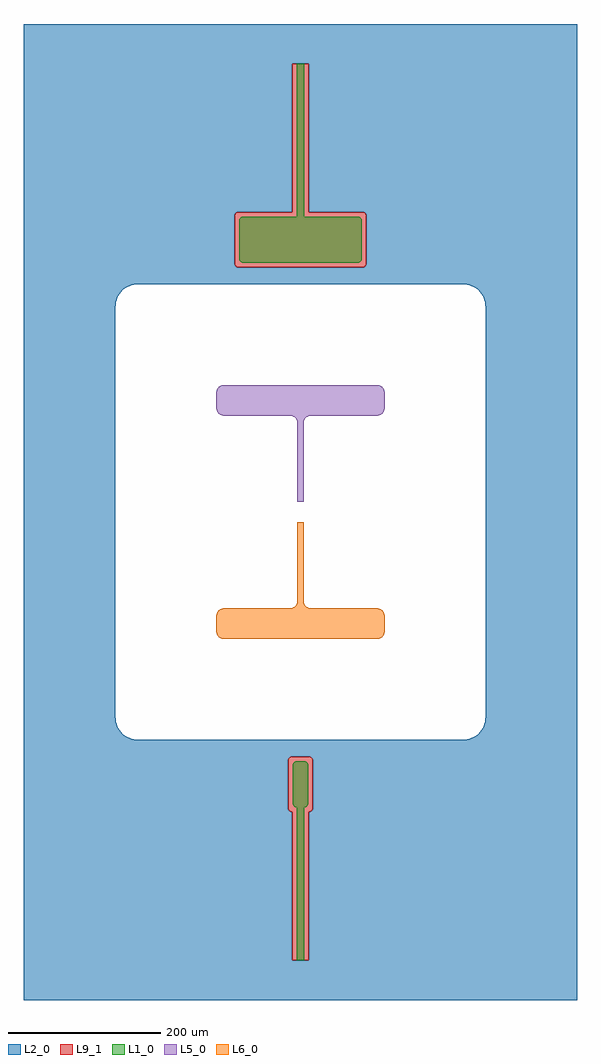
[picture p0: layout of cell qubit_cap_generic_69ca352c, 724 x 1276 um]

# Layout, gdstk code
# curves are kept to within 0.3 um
from math import pi, radians
import gdstk
lib = gdstk.Library(unit=1e-6, precision=1e-09)
def R(c, l, rs):  # rectangles x0, y0, x1, y1
    for r in rs: c.add(gdstk.rectangle(r[:2], r[2:], *l))
def P(c, l, *ps):  # polygons
    for p in ps: c.add(gdstk.Polygon(p, *l))
L1_0 = (1, 0)
L2_0 = (2, 0)
L5_0 = (5, 0)
L6_0 = (6, 0)
L9_1 = (9, 1)

round_rectangle_61e0a399 = lib.new_cell('round_rectangle_61e0a399')
P(round_rectangle_61e0a399, L5_0, [(-100,126),(101.045,126.055),(103.09,126.489),(105.878,127.91),(108.09,130.122),(109.511,132.91),(110,136),(109.945,157.045),(108.66,161),(106.691,163.431),(103.09,165.511),(100,166),(-101.045,165.945),(-103.09,165.511),(-105.878,164.09),(-108.09,161.878),(-109.511,159.09),(-110,156),(-110,136),(-109.511,132.91),(-107.431,129.309),(-104.067,126.865)])

round_rectangle_39f1ce38 = lib.new_cell('round_rectangle_39f1ce38')
R(round_rectangle_39f1ce38, L5_0, [(-4,-56.25,4,56.25)])

fillet_cutout_90deg_1908 = lib.new_cell('fillet_cutout_90deg_19087955')
P(fillet_cutout_90deg_1908, L5_0, [(0,0),(7.071,7.071),(5.556,5.827),(3.827,4.903),(1.951,4.334),(0,4.142),(-1.951,4.334),(-3.827,4.903),(-5.556,5.827),(-7.071,7.071)])

fillet_cutout_90deg_7294 = lib.new_cell('fillet_cutout_90deg_72947cdf')
P(fillet_cutout_90deg_7294, L5_0, [(0,0),(-7.071,-7.071),(-5.556,-5.827),(-3.827,-4.903),(-1.951,-4.334),(0,-4.142),(1.951,-4.334),(3.827,-4.903),(5.556,-5.827),(7.071,-7.071)])

round_rectangle_d35b9f68 = lib.new_cell('round_rectangle_d35b9f68')
P(round_rectangle_d35b9f68, L6_0, [(-100,-166),(101.045,-165.945),(103.09,-165.511),(105.878,-164.09),(108.09,-161.878),(109.511,-159.09),(110,-156),(109.945,-134.955),(108.66,-131),(106.691,-128.569),(103.09,-126.489),(100,-126),(-101.045,-126.055),(-103.09,-126.489),(-105.878,-127.91),(-108.09,-130.122),(-109.511,-132.91),(-110,-136),(-110,-156),(-109.511,-159.09),(-107.431,-162.691),(-104.067,-165.135)])

round_rectangle_78c8454c = lib.new_cell('round_rectangle_78c8454c')
R(round_rectangle_78c8454c, L6_0, [(-4,-56.25,4,56.25)])

fillet_cutout_90deg_0e94 = lib.new_cell('fillet_cutout_90deg_0e94dd91')
P(fillet_cutout_90deg_0e94, L6_0, [(0,0),(7.071,7.071),(5.556,5.827),(3.827,4.903),(1.951,4.334),(0,4.142),(-1.951,4.334),(-3.827,4.903),(-5.556,5.827),(-7.071,7.071)])

fillet_cutout_90deg_25a9 = lib.new_cell('fillet_cutout_90deg_25a9f91b')
P(fillet_cutout_90deg_25a9, L6_0, [(0,0),(-7.071,-7.071),(-5.556,-5.827),(-3.827,-4.903),(-1.951,-4.334),(0,-4.142),(1.951,-4.334),(3.827,-4.903),(5.556,-5.827),(7.071,-7.071)])

round_rectangle_80ea1818 = lib.new_cell('round_rectangle_80ea1818')
P(round_rectangle_80ea1818, L1_0, [(-75,-30),(76.545,-29.755),(78.716,-28.346),(79.973,-25.523),(79.755,26.545),(77.939,29.045),(75,30),(-76.545,29.755),(-78.716,28.346),(-79.973,25.523),(-80,-25),(-79.568,-27.034),(-78.716,-28.346),(-77.034,-29.568)])

straight_cpw_length_um20 = lib.new_cell('straight_cpw_length_um200p0')
R(straight_cpw_length_um20, L1_0, [(0,-5,200,5)])
R(straight_cpw_length_um20, L9_1, [(0,-11,200,11)])

round_rectangle_4c05ee14 = lib.new_cell('round_rectangle_4c05ee14')
P(round_rectangle_4c05ee14, L9_1, [(-81,320),(81,320),(83.034,320.432),(85.045,322.061),(86,325),(86,387),(85.568,389.034),(83.939,391.045),(81,392),(-81,392),(-83.034,391.568),(-85.045,389.939),(-86,387),(-86,325),(-85.568,322.966),(-84.716,321.654),(-83.034,320.432)])

round_rectangle_radius5p = lib.new_cell('round_rectangle_radius5p0_size20p0__60p0')
P(round_rectangle_radius5p, L1_0, [(-5,-30),(6.04,-29.891),(8.346,-28.716),(9.891,-26.04),(9.973,25.523),(8.716,28.346),(6.04,29.891),(-6.04,29.891),(-8.346,28.716),(-9.891,26.04),(-9.973,-25.523),(-9.568,-27.034),(-8.346,-28.716),(-7.034,-29.568)])

round_rectangle_1dc0c383 = lib.new_cell('round_rectangle_1dc0c383')
P(round_rectangle_1dc0c383, L9_1, [(-11,-392),(11.523,-391.973),(14.346,-390.716),(15.755,-388.545),(16,-325),(15.045,-322.061),(12.545,-320.245),(-11.523,-320.027),(-14.346,-321.284),(-15.755,-323.455),(-15.973,-387.523),(-15.568,-389.034),(-14.346,-390.716),(-13.034,-391.568)])

unnamed_ccfe176d = lib.new_cell('Unnamed_ccfe176d')
P(unnamed_ccfe176d, L2_0, [(362,638),(-362,638),(-362,325),(-86,325),(-86,387),(-85.568,389.034),(-84.346,390.716),(-83.034,391.568),(-81,392),(-11,392),(-11,586),(11,586),(11,392),(81.523,391.973),(83.034,391.568),(84.716,390.346),(85.568,389.034),(86,387),(85.973,324.477),(84.716,321.654),(83.034,320.432),(81.523,320.027),(-81,320),(-83.034,320.432),(-84.346,321.284),(-85.568,322.966),(-86,325),(-362,325),(-362,-268),(-242,-268),(-242,268),(-241.344,274.237),(-239.406,280.202),(-236.271,285.634),(-232.074,290.294),(-227,293.981),(-221.271,296.532),(-215.136,297.836),(-212,298),(212,298),(215.136,297.836),(221.271,296.532),(227,293.981),(232.074,290.294),(236.271,285.634),(239.406,280.202),(241.344,274.237),(242,268),(242,-268),(241.836,-271.136),(240.532,-277.271),(237.981,-283),(236.271,-285.634),(232.074,-290.294),(227,-293.981),(221.271,-296.532),(215.136,-297.836),(212,-298),(-212,-298),(-215.136,-297.836),(-221.271,-296.532),(-227,-293.981),(-232.074,-290.294),(-236.271,-285.634),(-239.406,-280.202),(-241.344,-274.237),(-242,-268),(-362,-268),(-362,-387),(-16,-387),(-16,-325),(-15.33,-322.5),(-13.939,-320.955),(-11.523,-320.027),(11.523,-320.027),(13.034,-320.432),(14.716,-321.654),(15.568,-322.966),(16,-325),(15.973,-387.523),(15.568,-389.034),(14.346,-390.716),(13.034,-391.568),(11,-392),(11,-586),(-11,-586),(-11,-392),(-13.034,-391.568),(-14.346,-390.716),(-15.568,-389.034),(-16,-387),(-362,-387),(-362,-638),(362,-638)])

qubit_cap_generic_69ca35 = lib.new_cell('qubit_cap_generic_69ca352c')
qubit_cap_generic_69ca35.add(gdstk.Reference(round_rectangle_61e0a399, (0,0)))
qubit_cap_generic_69ca35.add(gdstk.Reference(round_rectangle_39f1ce38, (0,69.75)))
qubit_cap_generic_69ca35.add(gdstk.Reference(fillet_cutout_90deg_1908, (4,126), rotation=radians(225)))
qubit_cap_generic_69ca35.add(gdstk.Reference(fillet_cutout_90deg_7294, (-4,126), rotation=radians(315)))
qubit_cap_generic_69ca35.add(gdstk.Reference(round_rectangle_d35b9f68, (0,0)))
qubit_cap_generic_69ca35.add(gdstk.Reference(round_rectangle_78c8454c, (0,-69.75), rotation=pi))
qubit_cap_generic_69ca35.add(gdstk.Reference(fillet_cutout_90deg_0e94, (-4,-126), rotation=radians(45)))
qubit_cap_generic_69ca35.add(gdstk.Reference(fillet_cutout_90deg_25a9, (4,-126), rotation=radians(135)))
qubit_cap_generic_69ca35.add(gdstk.Reference(round_rectangle_80ea1818, (0,356)))
qubit_cap_generic_69ca35.add(gdstk.Reference(straight_cpw_length_um20, (0,386), rotation=pi/2))
qubit_cap_generic_69ca35.add(gdstk.Reference(round_rectangle_4c05ee14, (0,0)))
qubit_cap_generic_69ca35.add(gdstk.Reference(round_rectangle_radius5p, (0,-356)))
qubit_cap_generic_69ca35.add(gdstk.Reference(straight_cpw_length_um20, (0,-386), rotation=3*pi/2))
qubit_cap_generic_69ca35.add(gdstk.Reference(round_rectangle_1dc0c383, (0,0)))
qubit_cap_generic_69ca35.add(gdstk.Reference(unnamed_ccfe176d, (0,0)))

lib.write_gds('qubit_cap_generic_69ca352c.gds')
